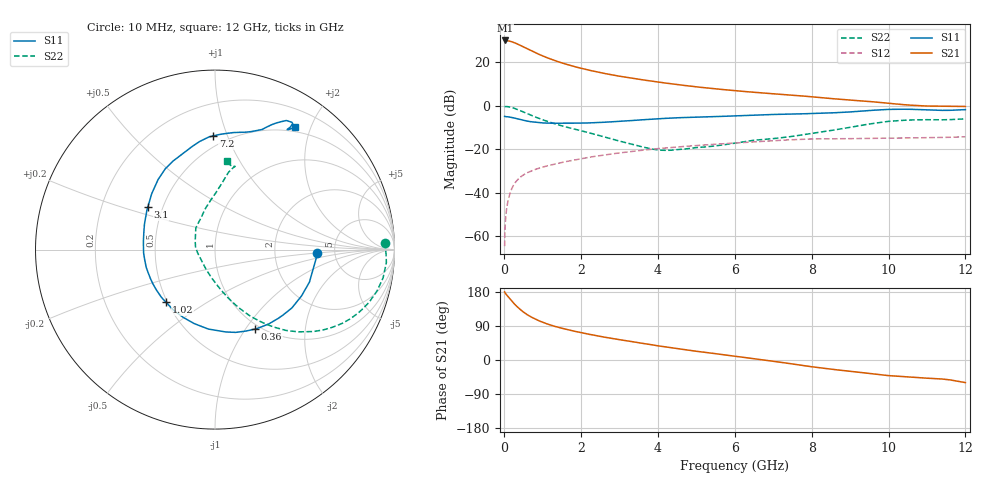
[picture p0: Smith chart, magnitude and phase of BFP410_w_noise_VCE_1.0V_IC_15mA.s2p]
! Infineon Technologies  Discrete & RF Semiconductors
! BFP410
! VCE =  1.0 V,  IC =  15 mA
! Common Emitter S-Parameters:  Nov 2015
# GHz  S  MA  R  50
!  f  S11  S21  S12  S22
! GHz  MAG  ANG  MAG  ANG  MAG  ANG  MAG  ANG
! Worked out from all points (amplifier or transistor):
!   243 points, 10 MHz to 12 GHz, reference 50 ohm
!   highest |S21| = 29.9 dB at 20 MHz (marker M1)
!   |S21| within 3 dB of that: start of sweep to 504.1 MHz
!   unconditionally stable (mu >= 1): start of sweep to 15.4 MHz; 1.963 GHz to end of sweep
!   at 240 MHz: K = 0.24, MSG = 32.8 dB, |S12| = -36.5 dB
!   at 1.84 GHz: K = 0.97, MSG = 21.3 dB, |S12| = -24.8 dB
!   at 12 GHz: K = 1.01, MAG = 6.2 dB, |S12| = -14.3 dB
!   lowest NFmin = 1.50 dB at 900 MHz
!   S11 on the Smith chart (normalised r, x): 10 MHz: 3.62, -0.18; 360 MHz: 0.94, -1.11; 1.02 GHz: 0.49, -0.34; 3.1 GHz: 0.41, +0.24; 7.2 GHz: 0.42, +0.89; 12 GHz: 0.44, +1.77
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0.01  0.5684 -1.7  30.95 179.6  0.0006 101.0  0.946 2.3
0.02  0.5683 -3.8  31.3 177.3  0.0015 92.5  0.9528 -1.1
0.1  0.5565 -19.0  30.78 167.3  0.0066 82.2  0.9496 -9.5
0.15  0.5468 -28.2  30.05 160.9  0.0097 78.9  0.9319 -14.3
0.2  0.5377 -37.2  29.19 155.1  0.0127 75.3  0.9073 -18.9
0.3  0.5111 -54.1  26.99 144.1  0.0179 69.6  0.8468 -27.1
0.36  0.4954 -63.3  25.55 138.4  0.0205 66.6  0.8069 -31.3
0.5  0.4623 -82.8  22.25 126.5  0.0259 61.4  0.7146 -39.7
0.6  0.4442 -94.8  20.09 119.4  0.029 58.7  0.6539 -44.5
0.7  0.4282 -105.7  18.2 113.5  0.0318 56.8  0.6009 -48.6
0.9  0.4096 -123.8  15.11 103.6  0.0367 54.2  0.5123 -55.0
1.02  0.401 -132.9  13.6 98.8  0.0394 53.3  0.4681 -58.2
1.4  0.3944 -155.6  10.19 86.4  0.0477 51.2  0.3647 -66.4
2.02  0.3986 178.9  7.135 71.8  0.0614 48.2  0.2635 -76.5
2.6  0.4177 160.3  5.499 60.4  0.074 44.4  0.192 -87.9
3.1  0.443 147.6  4.588 52.1  0.0847 40.9  0.1463 -101.0
4.1  0.507 127.6  3.391 36.1  0.1054 32.9  0.0951 -145.8
6.1  0.5883 102.5  2.173 8.7  0.1408 16.1  0.1423 139.5
7.2  0.6335 90.8  1.82 -6.1  0.1607 5.9  0.1838 117.7
8.2  0.6675 78.1  1.542 -20.3  0.1729 -5.4  0.2458 100.7
10.2  0.825 60.0  1.093 -42.6  0.1803 -21.4  0.4497 79.0
12  0.813 56.8  0.959 -59.6  0.1937 -35.7  0.4984 82.4
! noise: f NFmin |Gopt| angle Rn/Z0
0.45  1.52  0.06  -134  0.19
0.9  1.5  0.07  -151  0.16
1.8  1.61  0.12  -142  0.16
2.4  1.64  0.18  -123  0.21
5.5  2.49  0.39  -106  0.35
10  3.6  0.69  -47  2.16
